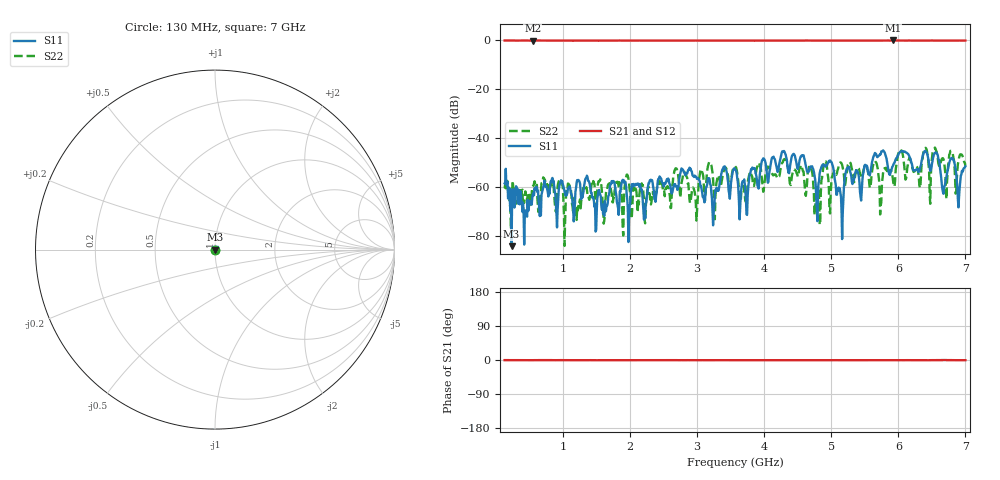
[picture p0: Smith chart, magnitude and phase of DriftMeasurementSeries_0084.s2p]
# Hz S RI R 50.000000
! Metas.Vna.Tools, 2.8.8664.20301
! Metas.Vna.Data, 2.8.8664.20285
! Created: UTC 2024.02.11 10:08:45
! FREQ  re:S1,1  im:S1,1  re:S2,1  im:S2,1  re:S1,2  im:S1,2  re:S2,2  im:S2,2
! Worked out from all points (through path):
!   801 points, 130 MHz to 7 GHz, reference 50 ohm
!   highest |S21| = -0.01 dB at 5.918 GHz (marker M1); lowest = -0.1 dB at 550.8 MHz (marker M2)
!   lowest |S11| = -84.0 dB at 233.1 MHz (marker M3), VSWR 1.00, Z = 50 - j0.00603 ohm
!   |S11| at or under -10 dB: start of sweep to end of sweep
!   |S22| runs from -83.9 to -43.7 dB; largest |S21 - S12| = 0.02
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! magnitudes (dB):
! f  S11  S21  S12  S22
! 130 MHz  -58.4  0.0  0.0  -60.3
! 233.1 MHz  -84.0  0.0  0.0  -68.0
! 550.8 MHz  -62.8  -0.1  0.0  -59.5
! 1.281 GHz  -62.3  -0.1  0.0  -64.0
! 2.423 GHz  -56.5  -0.1  0.0  -58.3
! 2.895 GHz  -52.6  -0.1  0.0  -66.4
! 3.187 GHz  -56.9  -0.1  0.0  -49.6
! 3.247 GHz  -70.0  -0.1  0.0  -60.7
! 3.565 GHz  -52.6  -0.1  0.0  -51.3
! 3.642 GHz  -68.4  -0.1  0.0  -65.6
! 4.286 GHz  -45.4  -0.1  0.0  -48.9
! 4.716 GHz  -51.4  -0.1  0.0  -53.8
! 4.784 GHz  -69.5  -0.1  0.0  -60.4
! 4.905 GHz  -51.0  -0.1  0.0  -49.7
! 4.991 GHz  -49.3  -0.1  0.0  -63.0
! 5.154 GHz  -69.8  -0.1  0.0  -50.2
! 5.248 GHz  -51.9  -0.1  0.0  -50.7
! 5.858 GHz  -53.9  0.0  0.0  -53.9
! 5.918 GHz  -51.3  0.0  0.0  -56.5
! 6.03 GHz  -45.4  0.0  0.0  -44.7
! 6.674 GHz  -62.6  -0.1  0.0  -48.5
! 7 GHz  -51.4  -0.1  0.0  -51.1
